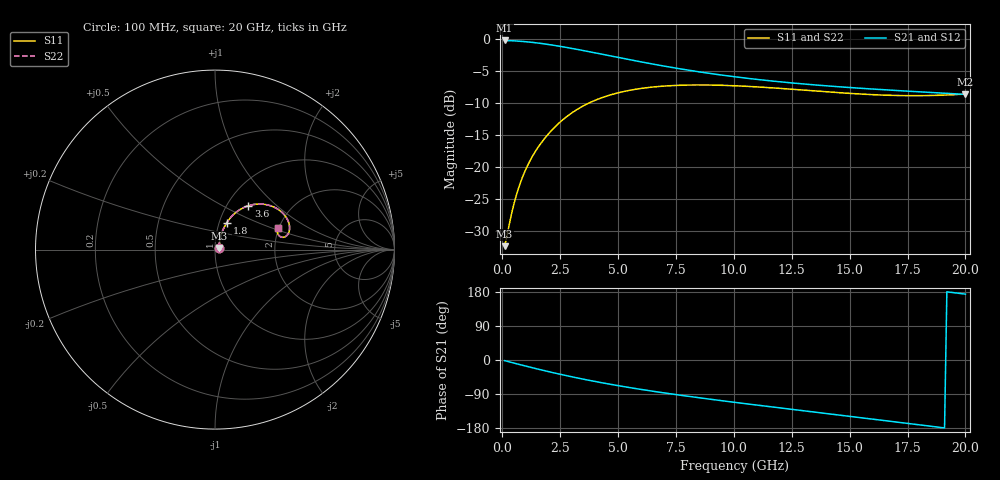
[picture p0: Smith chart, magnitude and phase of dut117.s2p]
! Touchstone file exported from HFSS 2024.1.0
!  File:  C:/UserFiles/LocalFiles/RDL_TSV_Batchsim/temp_RDL_TSV_117_1779423488.aedt
!  Generated:  12:32:51 PM May 22, 2026
!  Design:  RDL_TSV
!  Project:  temp_RDL_TSV_117_1779423488
!  Setup:  Setup1
!  Solution:  Sweep
! Variables:
!  dtsv = 8.02um
!  hbump = 3um
!  htsv = 52.47um
!  ldown = 305.31um
!  lrdl = 486.26um
!  p = 40
!  p1 = 53.66um
!  rhole = 10um
!  subl = 2860.97um
!  t = 450um
!  tdown = 3.51um
!  trdl = 2.98um
!  viad = 10um
!  wdown = 11.3um
!  wrdl = 15.43um
!  xbump = 18um
# GHz S MA R 50.000000
! Terminal data exported
! Port[1] = TM1_1_T1
! Port[2] = TM1_4_T1
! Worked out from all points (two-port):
!   200 points, 100 MHz to 20 GHz, reference 50 ohm
!   highest |S21| = -0.22 dB at 100 MHz (marker M1); lowest = -8.7 dB at 20 GHz (marker M2)
!   |S21| within 3 dB of the highest: start of sweep to 5.488 GHz
!   lowest |S11| = -32.4 dB at 100 MHz (marker M3), VSWR 1.05, Z = 52.3 + j0.928 ohm
!   |S11| at or under -10 dB: start of sweep to 3.748 GHz
!   |S22| runs from -32.4 to -7.2 dB; largest |S21 - S12| = 1.4e-14
!   S11 on the Smith chart (normalised r, x): 100 MHz: 1.05, +0.02; 1.8 GHz: 1.09, +0.34; 3.6 GHz: 1.25, +0.68; 20 GHz: 1.97, +0.56
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0.1  0.024 21.7  0.9754 -1.7  0.9754 -1.7  0.02392 21.6
! Gamma 0 0 0 0
! Port Impedance 50 0 50 0
0.5  0.05111 59.9  0.9687 -8.1  0.9687 -8.1  0.05072 59.9
0.8  0.07683 66.1  0.9608 -12.8  0.9608 -12.8  0.07625 66.2
1  0.09443 67.5  0.9542 -15.9  0.9542 -15.9  0.09377 67.7
1.2  0.1121 67.9  0.9465 -19.0  0.9465 -19.0  0.1114 68.1
1.5  0.1385 67.4  0.9331 -23.5  0.9331 -23.5  0.1378 67.6
1.8  0.1646 66.2  0.9178 -27.9  0.9178 -27.9  0.1639 66.4
2.6  0.2328 61.1  0.8711 -39.1  0.8711 -39.1  0.232 61.3
3.5  0.3002 53.5  0.8132 -50.6  0.8132 -50.6  0.2996 53.7
3.6  0.3068 52.7  0.8067 -51.8  0.8067 -51.8  0.3062 52.9
4.3  0.3478 46.8  0.7617 -60.0  0.7617 -60.0  0.3473 47.0
5  0.3798 41.2  0.7187 -67.7  0.7187 -67.7  0.3794 41.4
5.9  0.4088 34.8  0.668 -76.8  0.668 -76.8  0.4085 34.9
6.8  0.4265 29.2  0.6232 -85.2  0.6232 -85.2  0.4263 29.3
8.3  0.4375 21.7  0.5614 -98.0  0.5614 -98.0  0.4374 21.8
10.1  0.4309 15.4  0.5055 -112.2  0.5055 -112.2  0.4308 15.4
11.7  0.415 11.9  0.4688 -124.2  0.4688 -124.2  0.415 11.9
13.4  0.3943 10.3  0.4394 -136.8  0.4394 -136.8  0.3943 10.3
15.1  0.375 10.7  0.4166 -149.3  0.4166 -149.3  0.3751 10.8
16.7  0.3633 12.9  0.3992 -161.2  0.3992 -161.2  0.3634 12.9
18.3  0.3614 16.0  0.3841 -173.3  0.3841 -173.3  0.3615 16.0
20  0.3715 19.3  0.3692 173.8  0.3692 173.8  0.3717 19.3
